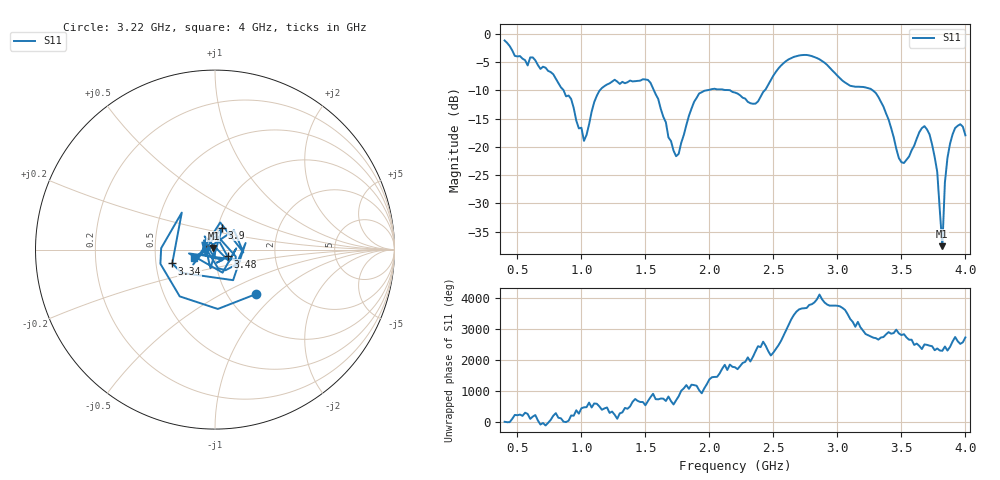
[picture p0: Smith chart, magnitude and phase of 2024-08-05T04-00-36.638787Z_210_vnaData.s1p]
!Created with skrf (http://scikit-rf.org).
# Hz S RI R 50.0
!freq ReS11 ImS11
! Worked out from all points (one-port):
!   181 points, 400 MHz to 4 GHz, reference 50 ohm
!   lowest |S11| = -37.6 dB at 3.82 GHz (marker M1), VSWR 1.03, Z = 49.1 + j0.963 ohm
!   |S11| at or under -10 dB: 861.3 MHz to 1.143 GHz (281.8 MHz wide, 28.1 % of centre); 1.567 GHz to 1.974 GHz (407.6 MHz wide, 23 % of centre); 3.277 GHz to end of sweep (the widest 3 of 4)
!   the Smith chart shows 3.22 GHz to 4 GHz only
!   S11 on the Smith chart (normalised r, x): 3.22 GHz: 1.34, -0.75; 3.34 GHz: 0.61, -0.10; 3.48 GHz: 1.15, -0.09; 3.9 GHz: 1.05, +0.26; 4 GHz: 0.79, -0.07
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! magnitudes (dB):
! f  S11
! 400 MHz  -1.2
! 860 MHz  -9.9
! 920 MHz  -11.5
! 1.02 GHz  -18.9
! 1.14 GHz  -10.1
! 1.3 GHz  -8.9
! 1.54 GHz  -8.7
! 1.72 GHz  -20.7
! 1.76 GHz  -21.2
! 1.92 GHz  -10.5
! 2.2 GHz  -10.4
! 2.36 GHz  -12.3
! 2.66 GHz  -4.1
! 2.86 GHz  -4.5
! 3.1 GHz  -9.2
! 3.22 GHz  -9.5
! 3.34 GHz  -12.0
! 3.48 GHz  -22.0
! 3.56 GHz  -21.7
! 3.66 GHz  -16.7
! 3.72 GHz  -17.8
! 3.78 GHz  -24.4
! 3.82 GHz  -37.6
! 3.84 GHz  -26.3
! 3.86 GHz  -21.9
! 3.9 GHz  -17.8
! 3.96 GHz  -16.0
! 4 GHz  -17.9
